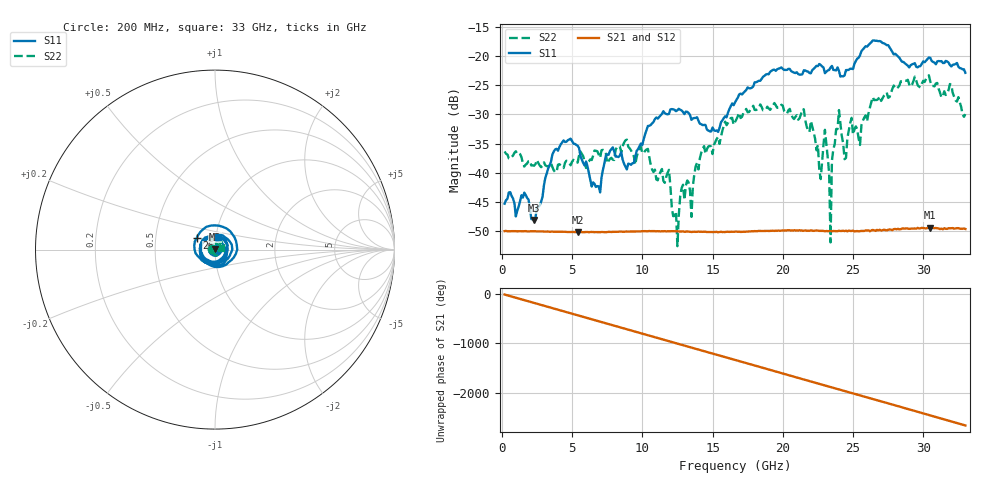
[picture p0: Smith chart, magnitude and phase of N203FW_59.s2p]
# GHZ S RI R 50
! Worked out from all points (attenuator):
!   329 points, 200 MHz to 33 GHz, reference 50 ohm
!   highest |S21| = -49.35 dB at 30.5 GHz (marker M1); lowest = -50.1 dB at 5.4 GHz (marker M2)
!   lowest |S11| = -48.0 dB at 2.3 GHz (marker M3), VSWR 1.01, Z = 50.1 + j0.386 ohm
!   |S11| at or under -10 dB: start of sweep to end of sweep
!   |S22| runs from -52.5 to -23.3 dB; largest |S21 - S12| = 8.8e-05
!   S11 on the Smith chart (normalised r, x): 200 MHz: 1.01, +0.00; 26 GHz: 0.81, +0.10; 33 GHz: 1.03, +0.14
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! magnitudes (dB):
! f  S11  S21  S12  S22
! 200 MHz  -45.3  -49.9  -49.9  -36.3
! 2.3 GHz  -48.0  -50.0  -50.0  -38.7
! 5.4 GHz  -35.3  -50.1  -50.1  -38.2
! 5.7 GHz  -37.8  -50.1  -50.1  -36.7
! 7 GHz  -43.3  -50.1  -50.1  -37.4
! 11.2 GHz  -30.4  -50.0  -50.0  -40.3
! 11.9 GHz  -29.9  -50.0  -50.0  -39.5
! 12.5 GHz  -29.3  -50.0  -50.0  -52.5
! 12.9 GHz  -29.6  -50.0  -50.0  -42.0
! 13.5 GHz  -30.9  -50.1  -50.1  -47.5
! 16.6 GHz  -28.0  -50.0  -50.1  -31.3
! 22.1 GHz  -22.4  -49.9  -49.8  -32.1
! 22.7 GHz  -21.5  -49.9  -49.9  -41.0
! 23 GHz  -22.9  -50.0  -49.9  -32.6
! 23.4 GHz  -22.0  -49.9  -49.9  -51.9
! 23.5 GHz  -21.7  -50.0  -49.9  -37.9
! 24 GHz  -22.5  -49.9  -49.9  -29.2
! 24.4 GHz  -23.3  -49.9  -49.8  -37.6
! 26 GHz  -18.4  -49.9  -49.8  -31.2
! 27.6 GHz  -18.5  -49.7  -49.7  -27.0
! 30.5 GHz  -20.3  -49.3  -49.4  -24.4
! 33 GHz  -22.9  -49.6  -49.6  -29.9
